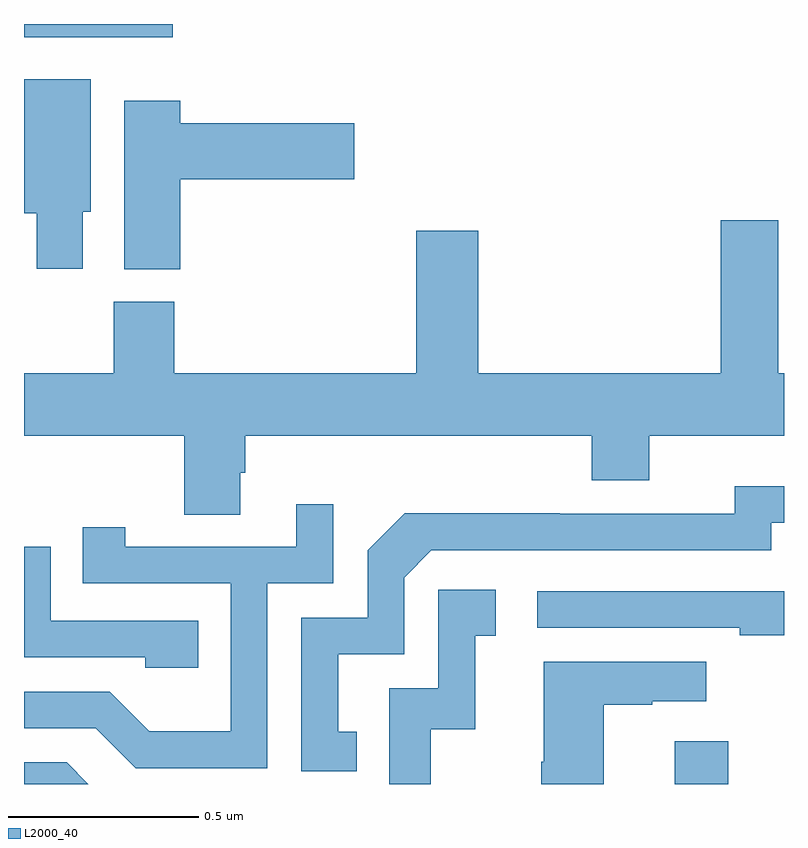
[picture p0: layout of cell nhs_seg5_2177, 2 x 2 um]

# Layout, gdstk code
import gdstk
lib = gdstk.Library(unit=1e-6, precision=1e-09)
def R(c, l, rs):  # rectangles x0, y0, x1, y1
    for r in rs: c.add(gdstk.rectangle(r[:2], r[2:], *l))
def P(c, l, *ps):  # polygons
    for p in ps: c.add(gdstk.Polygon(p, *l))
L2000_40 = (2000, 40)

nhs_seg5_2177 = lib.new_cell('nhs_seg5_2177')
R(nhs_seg5_2177, L2000_40, [(141.713,899.799,141.853,899.911), (140,901.764,140.392,901.799)])
P(nhs_seg5_2177, L2000_40, [(140.155,901.305),(140.176,901.305),(140.176,901.654),(140,901.654),(140,901.301),(140.033,901.301),(140.033,901.155),(140.155,901.155)],
  [(140.411,901.391),(140.869,901.391),(140.869,901.538),(140.411,901.538),(140.411,901.597),(140.264,901.597),(140.264,901.153),(140.411,901.153)],
  [(140.569,900.618),(140.582,900.618),(140.582,900.716),(141.494,900.716),(141.494,900.599),(141.646,900.599),(141.646,900.716),(142,900.716),(142,900.88),(141.985,900.88),(141.985,901.282),(141.833,901.282),(141.833,900.88),(141.196,900.88),(141.196,901.255),(141.032,901.255),(141.032,900.88),(140.396,900.88),(140.396,901.068),(140.236,901.068),(140.236,900.88),(140,900.88),(140,900.716),(140.422,900.716),(140.422,900.508),(140.569,900.508)],
  [(140.876,899.937),(140.827,899.937),(140.827,900.141),(141,900.141),(141,900.342),(141.072,900.414),(141.966,900.414),(141.966,900.486),(142,900.486),(142,900.583),(141.87,900.583),(141.87,900.51),(141.41,900.51),(141.41,900.512),(141.002,900.512),(140.904,900.414),(140.904,900.237),(140.73,900.237),(140.73,899.832),(140.876,899.832)],
  [(140.64,900.327),(140.814,900.327),(140.814,900.535),(140.717,900.535),(140.717,900.423),(140.266,900.423),(140.266,900.475),(140.155,900.475),(140.155,900.327),(140.544,900.327),(140.544,899.938),(140.33,899.938),(140.226,900.042),(140,900.042),(140,899.946),(140.189,899.946),(140.294,899.841),(140.64,899.841)],
  [(140.459,900.228),(140.07,900.228),(140.07,900.423),(140,900.423),(140,900.132),(140.319,900.132),(140.319,900.105),(140.459,900.105)],
  [(141.07,899.943),(141.188,899.943),(141.188,900.189),(141.241,900.189),(141.241,900.31),(141.09,900.31),(141.09,900.051),(140.961,900.051),(140.961,899.799),(141.07,899.799)],
  [(142,900.306),(141.351,900.306),(141.351,900.21),(141.883,900.21),(141.883,900.19),(142,900.19)],
  [(141.526,900.007),(141.653,900.007),(141.653,900.017),(141.796,900.017),(141.796,900.121),(141.368,900.121),(141.368,899.857),(141.361,899.857),(141.361,899.799),(141.526,899.799)],
  [(140.112,899.856),(140,899.856),(140,899.799),(140.169,899.799)])

lib.write_gds('nhs_seg5_2177.gds')
